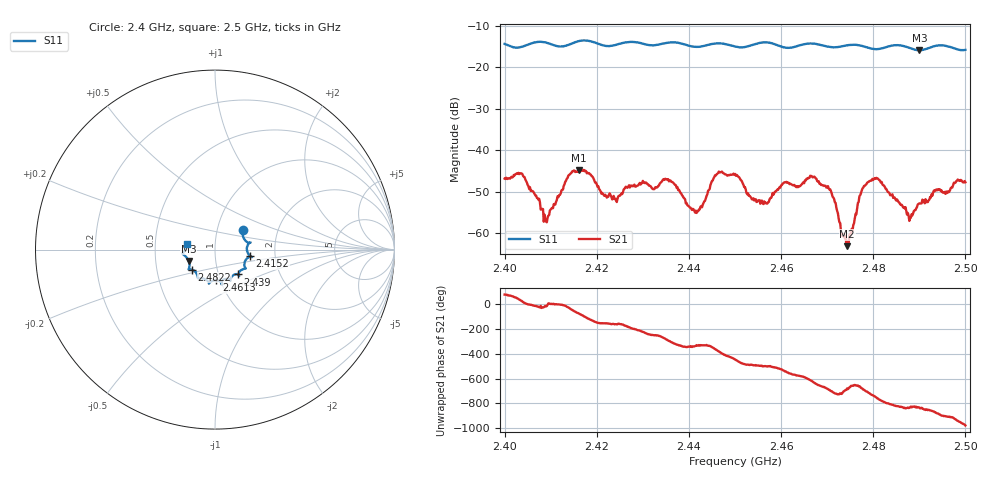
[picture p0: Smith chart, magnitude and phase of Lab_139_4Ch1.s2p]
# Hz S RI R 50
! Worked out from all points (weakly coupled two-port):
!   601 points, 2.4 GHz to 2.5 GHz, reference 50 ohm
!   highest |S21| = -44.75 dB at 2.4162 GHz (marker M1); lowest = -63.1 dB at 2.4743 GHz (marker M2)
!   lowest |S11| = -15.9 dB at 2.49 GHz (marker M3), VSWR 1.38, Z = 36.9 - j4.83 ohm
!   |S11| at or under -10 dB: start of sweep to end of sweep
!   S12 and S22 are empty: the file has one direction only
!   S11 on the Smith chart (normalised r, x): 2.4 GHz: 1.33, +0.30; 2.4152 GHz: 1.48, -0.11; 2.439 GHz: 1.24, -0.35; 2.4613 GHz: 0.96, -0.34; 2.4822 GHz: 0.76, -0.17; 2.5 GHz: 0.73, +0.05
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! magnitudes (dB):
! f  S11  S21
! 2.4 GHz  -14.4  -46.9
! 2.4038 GHz  -15.1  -45.7
! 2.409 GHz  -14.1  -57.2
! 2.4152 GHz  -14.1  -44.9
! 2.4162 GHz  -13.7  -44.8
! 2.4167 GHz  -13.6  -45.0
! 2.4238 GHz  -14.7  -51.6
! 2.4333 GHz  -14.6  -48.6
! 2.439 GHz  -14.5  -51.6
! 2.4418 GHz  -15.1  -54.7
! 2.446 GHz  -14.3  -45.9
! 2.45 GHz  -15.0  -45.7
! 2.4565 GHz  -14.0  -52.8
! 2.4613 GHz  -15.3  -47.9
! 2.4667 GHz  -14.3  -46.3
! 2.4707 GHz  -15.2  -49.5
! 2.4743 GHz  -14.7  -63.1
! 2.478 GHz  -15.0  -48.6
! 2.4822 GHz  -15.4  -48.5
! 2.4833 GHz  -15.0  -50.2
! 2.49 GHz  -15.9  -52.8
! 2.5 GHz  -15.8  -47.7
